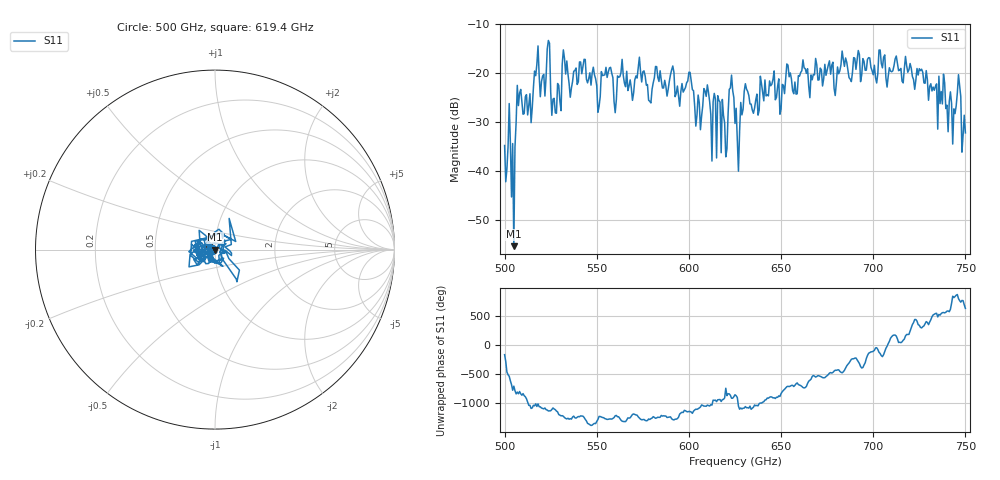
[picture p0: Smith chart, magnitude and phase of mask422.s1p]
!Created with skrf (http://scikit-rf.org).
# GHz S MA R 50.0
!freq magS11 angS11
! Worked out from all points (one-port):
!   401 points, 500 GHz to 750 GHz, reference 50 ohm
!   lowest |S11| = -55.4 dB at 505 GHz (marker M1), VSWR 1.00, Z = 50.2 + j0.0301 ohm
!   |S11| at or under -10 dB: start of sweep to end of sweep
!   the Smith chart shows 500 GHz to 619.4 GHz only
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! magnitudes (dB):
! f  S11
! 500 GHz  -34.8
! 505 GHz  -55.4
! 508.1 GHz  -24.1
! 513.8 GHz  -24.2
! 516.9 GHz  -20.5
! 520.6 GHz  -20.6
! 523.8 GHz  -13.3
! 526.9 GHz  -25.1
! 531.2 GHz  -18.2
! 542.5 GHz  -18.6
! 550.6 GHz  -28.0
! 562.5 GHz  -20.7
! 590.6 GHz  -19.3
! 593.8 GHz  -22.6
! 600 GHz  -19.8
! 605 GHz  -24.5
! 609.4 GHz  -24.7
! 620 GHz  -37.1
! 623.1 GHz  -20.4
! 625 GHz  -30.3
! 626.2 GHz  -33.4
! 631.2 GHz  -23.2
! 656.2 GHz  -23.6
! 687.5 GHz  -21.2
! 718.8 GHz  -19.8
! 741.9 GHz  -23.8
! 746.2 GHz  -20.3
! 750 GHz  -32.2
